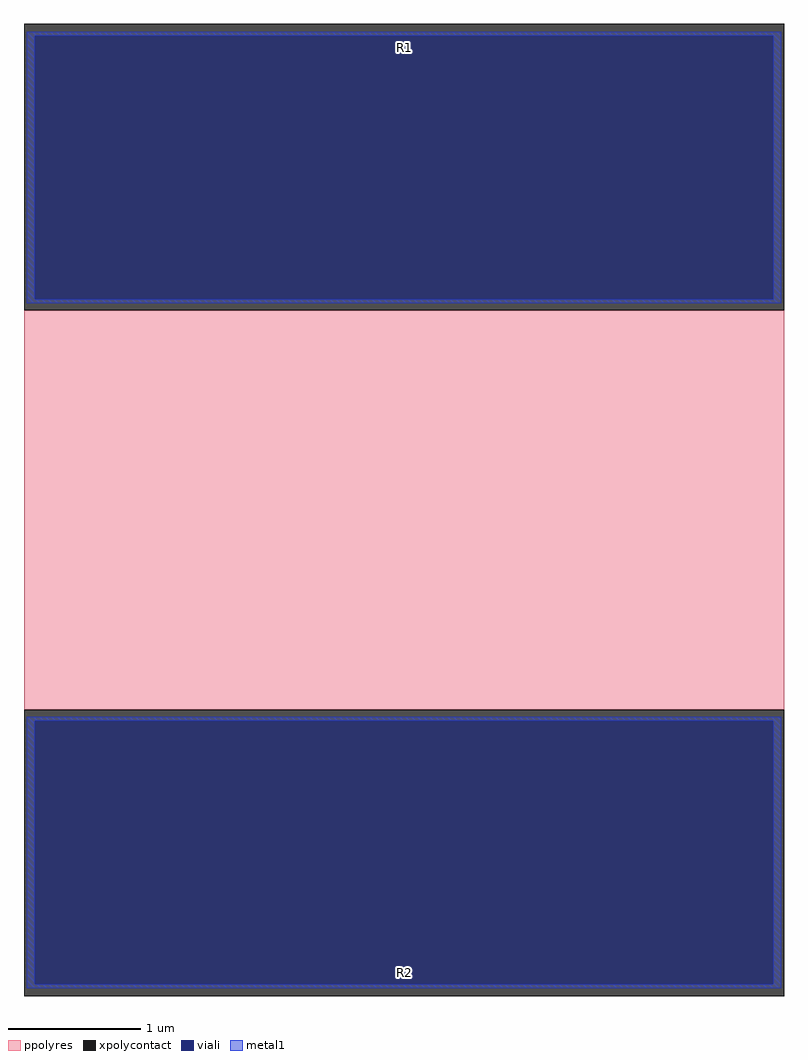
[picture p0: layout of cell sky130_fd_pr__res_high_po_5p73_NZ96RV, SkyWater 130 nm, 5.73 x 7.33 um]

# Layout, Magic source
magic
tech sky130A
magscale 1 2
<< xpolycontact >>
rect -573 301 573 733
rect -573 -733 573 -301
<< ppolyres >>
rect -573 -301 573 301
<< viali >>
rect -557 318 557 715
rect -557 -715 557 -318
<< metal1 >>
rect -569 715 569 721
rect -569 318 -557 715
rect 557 318 569 715
rect -569 312 569 318
rect -569 -318 569 -312
rect -569 -715 -557 -318
rect 557 -715 569 -318
rect -569 -721 569 -715
<< labels >>
rlabel xpolycontact 0 698 0 698 0 R1
port 1 nsew
rlabel xpolycontact 0 -698 0 -698 0 R2
port 2 nsew
<< properties >>
string gencell sky130_fd_pr__res_high_po_5p73
string library sky130
string parameters w 5.73 l 3.17 m 1 nx 1 wmin 5.730 lmin 0.50 class resistor rho 319.8 val 244.922 dummy 0 dw 0.0 term 194.82 sterm 0.0 caplen 0 guard 0 glc 1 grc 1 gtc 1 gbc 1 compatible {sky130_fd_pr__res_high_po_0p35  sky130_fd_pr__res_high_po_0p69 sky130_fd_pr__res_high_po_1p41  sky130_fd_pr__res_high_po_2p85 sky130_fd_pr__res_high_po_5p73} snake 0 full_metal 0 wmax 5.730 n_guard 0 hv_guard 0 vias 1 viagb 0 viagt 0 viagl 0 viagr 0 doports 1
<< end >>
